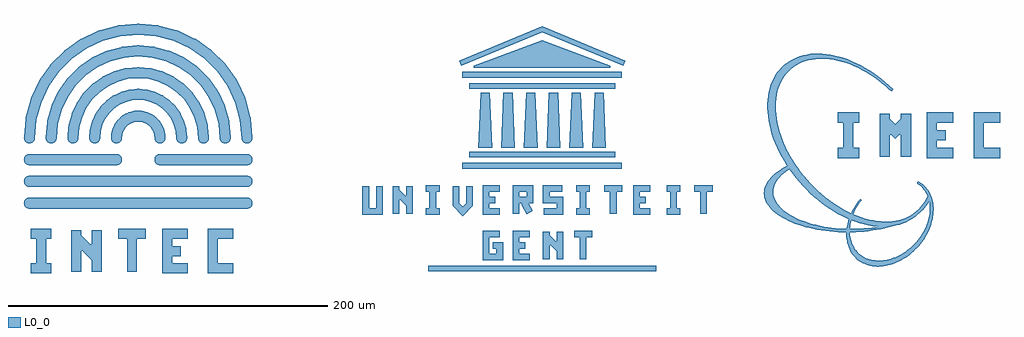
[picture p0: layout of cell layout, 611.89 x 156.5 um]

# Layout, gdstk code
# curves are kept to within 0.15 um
import gdstk
lib = gdstk.Library(unit=1e-6, precision=5e-09)
def R(c, l, rs):  # rectangles x0, y0, x1, y1
    for r in rs: c.add(gdstk.rectangle(r[:2], r[2:], *l))
def P(c, l, *ps):  # polygons
    for p in ps: c.add(gdstk.Polygon(p, *l))
L0_0 = (0, 0)

logo_intec__l0_s136363 = lib.new_cell('logo_intec__L0_S136363')
R(logo_intec__l0_s136363, L0_0, [(0.82,-3.11,13.775,3.11), (26.21,-2.16,32.43,23.75), (39.165,-2.16,45.385,23.75), (61.185,-2.16,67.405,21.59), (4.185,0,10.405,21.59), (86.32,7.685,94.955,13.905), (35.795,8.765,42.275,14.985), (29.32,10.925,35.795,17.145), (0.82,18.48,13.775,24.7), (55.66,18.48,72.93,24.7)])
P(logo_intec__l0_s136363, L0_0, [(31.52,21.63),(44.475,8.675),(40.075,4.275),(27.12,17.23)],
  [(99.275,-3.11),(83.21,-3.11),(83.21,24.7),(99.275,24.7),(99.275,18.48),(89.43,18.48),(89.43,3.11),(99.275,3.11)],
  [(127.775,-3.11),(111.71,-3.11),(111.71,24.7),(127.775,24.7),(127.775,18.48),(117.93,18.48),(117.93,3.11),(127.775,3.11)],
  [(0,37.5),(-1.22,37.725),(-2.41,38.5),(-3.185,39.69),(-3.41,40.91),(-3.185,42.13),(-2.41,43.32),(-1.22,44.095),(0,44.32),(136.365,44.32),(137.585,44.095),(138.775,43.32),(139.55,42.13),(139.775,40.91),(139.55,39.69),(138.775,38.5),(137.585,37.725),(136.365,37.5)],
  [(0,51.135),(-1.22,51.36),(-2.41,52.135),(-3.185,53.325),(-3.41,54.545),(-3.185,55.765),(-2.41,56.955),(-1.22,57.73),(0,57.955),(136.365,57.955),(137.585,57.73),(138.775,56.955),(139.55,55.765),(139.775,54.545),(139.55,53.325),(138.775,52.135),(137.585,51.36),(136.365,51.135)],
  [(0,64.77),(-1.22,64.995),(-2.41,65.77),(-3.185,66.96),(-3.41,68.18),(-3.185,69.4),(-2.535,70.46),(-1.55,71.22),(-0.18,71.585),(54.725,71.585),(55.93,71.295),(56.955,70.59),(57.66,69.565),(57.95,68.36),(57.73,66.96),(57.08,65.9),(56.095,65.14),(54.725,64.775)],
  [(81.82,64.77),(80.6,64.995),(79.41,65.77),(78.635,66.96),(78.41,68.18),(78.635,69.4),(79.285,70.46),(80.27,71.22),(81.64,71.585),(136.545,71.585),(137.75,71.295),(138.775,70.59),(139.48,69.565),(139.77,68.36),(139.55,66.96),(138.9,65.9),(137.915,65.14),(136.545,64.775)],
  [(85.215,82.12),(84.845,80.25),(83.535,78.87),(81.86,78.41),(80.175,78.835),(79.225,79.605),(78.675,80.5),(77.78,85.31),(77.025,86.925),(76.01,88.385),(74.745,89.645),(73.29,90.665),(71.68,91.415),(69.955,91.875),(68.18,92.035),(66.41,91.875),(64.685,91.415),(63.075,90.665),(61.615,89.645),(60.355,88.385),(59.335,86.925),(58.585,85.315),(57.68,80.485),(57.115,79.58),(56.295,78.895),(54.6,78.41),(52.89,78.84),(51.62,80.07),(51.135,81.765),(51.41,84.775),(52.175,87.64),(53.425,90.33),(55.535,93.205),(57.705,95.23),(59.67,96.575),(61.815,97.6),(65.225,98.59),(68.07,98.85),(71.14,98.59),(74.005,97.825),(76.695,96.57),(79.35,94.675),(81.42,92.53),(83.205,89.81),(84.185,87.64),(84.825,85.355)],
  [(98.85,82.12),(98.78,81.07),(98.395,80.095),(97.01,78.785),(95.14,78.425),(93.365,79.125),(92.55,80.035),(92.145,81.005),(91.67,85.96),(90.595,89.975),(88.835,93.745),(86.455,97.15),(83.51,100.09),(80.11,102.47),(76.34,104.23),(72.325,105.305),(68.18,105.67),(64.04,105.305),(60.025,104.23),(56.255,102.47),(52.85,100.09),(49.91,97.15),(47.53,93.745),(45.77,89.975),(44.695,85.96),(44.22,80.995),(43.8,80.015),(42.96,79.095),(41.325,78.435),(39.415,78.755),(38.085,79.915),(37.5,81.76),(37.98,87.145),(39.47,92.585),(41.625,97.155),(45.09,101.97),(48.47,105.31),(52.345,108.06),(57.145,110.41),(62.855,112.02),(68.065,112.485),(73.51,112.02),(78.67,110.635),(83.52,108.375),(88.33,104.915),(91.675,101.535),(94.425,97.655),(96.775,92.855),(98.385,87.145)],
  [(112.485,82.115),(112.365,80.88),(111.915,79.915),(111.19,79.135),(110.255,78.615),(109.03,78.41),(107.98,78.595),(107.04,79.1),(106.295,79.865),(105.715,81.345),(105.1,88.325),(103.41,94.64),(100.645,100.565),(96.9,105.915),(92.28,110.535),(86.925,114.28),(81.005,117.045),(74.69,118.735),(68.18,119.305),(61.675,118.735),(55.36,117.045),(49.435,114.28),(44.085,110.535),(39.465,105.915),(35.72,100.565),(32.955,94.64),(31.265,88.325),(30.65,81.345),(30.07,79.865),(29.325,79.1),(28.385,78.595),(27.335,78.41),(26.28,78.56),(25.32,79.025),(24.555,79.77),(24.05,80.71),(23.865,81.76),(24.55,89.51),(26.55,96.97),(29.815,103.975),(34.645,110.735),(40.175,116.12),(46.025,120.185),(52.48,123.225),(60.49,125.45),(68.06,126.12),(75.875,125.45),(83.335,123.45),(90.335,120.185),(97.1,115.355),(102.485,109.825),(106.55,103.975),(109.59,97.52),(111.815,89.51)],
  [(126.12,82.115),(126.045,81.05),(125.55,79.915),(124.825,79.135),(123.89,78.615),(122.665,78.41),(121.615,78.595),(120.67,79.1),(119.93,79.865),(119.35,81.345),(118.53,90.695),(116.225,99.305),(112.455,107.38),(107.345,114.68),(101.045,120.98),(93.745,126.09),(85.665,129.86),(77.06,132.165),(68.18,132.945),(59.305,132.165),(50.695,129.86),(42.62,126.09),(35.32,120.98),(29.02,114.68),(23.91,107.38),(20.14,99.305),(17.835,90.695),(17.01,81.345),(16.525,80.015),(15.825,79.21),(14.91,78.66),(13.87,78.42),(12.81,78.51),(11.83,78.93),(10.91,79.77),(10.41,80.71),(10.225,81.76),(11.12,91.88),(13.735,101.635),(18.005,110.79),(24.2,119.5),(31.41,126.565),(39.21,131.995),(47.815,136.04),(58.12,138.88),(68.065,139.76),(78.245,138.88),(87.995,136.265),(97.155,131.995),(105.865,125.8),(112.93,118.59),(118.36,110.79),(122.405,102.185),(125.245,91.88)],
  [(139.76,82.115),(139.64,80.88),(139.19,79.915),(138.465,79.135),(137.53,78.615),(136.305,78.41),(135.255,78.595),(134.175,79.21),(133.475,80.015),(132.99,81.345),(131.96,93.065),(129.035,103.97),(124.265,114.2),(117.79,123.445),(109.81,131.43),(100.565,137.9),(90.33,142.675),(79.425,145.595),(68.18,146.58),(56.935,145.595),(46.03,142.675),(35.8,137.9),(26.555,131.43),(18.57,123.445),(12.1,114.2),(7.325,103.97),(4.405,93.065),(3.375,81.345),(2.89,80.015),(2.19,79.21),(1.275,78.66),(0.24,78.42),(-0.825,78.51),(-1.805,78.93),(-2.61,79.63),(-3.225,80.71),(-3.41,81.76),(-2.31,94.25),(0.92,106.3),(6.195,117.61),(13.75,128.265),(22.645,137.015),(32.39,143.805),(43.15,148.855),(55.75,152.31),(68.065,153.395),(80.61,152.31),(92.66,149.08),(103.975,143.805),(114.635,136.25),(123.375,127.36),(130.17,117.61),(135.215,106.85),(138.675,94.25)])

logo_ugent__l0_s136363 = lib.new_cell('logo_ugent__L0_S136363')
R(logo_ugent__l0_s136363, L0_0, [(0,-1.785,142.855,1.785), (71.945,5.715,76.055,22.855), (80.515,5.715,84.625,22.855), (95.09,5.715,99.2,21.43), (55.145,12.23,60.855,16.34), (78.285,12.945,82.57,17.055), (74,14.375,78.285,18.485), (91.43,19.375,102.855,23.485), (-1.43,33.66,7.145,37.77), (92.855,33.66,101.43,37.77), (149.43,33.66,158,37.77), (-22.34,34.285,-18.23,51.43), (-13.77,34.285,-9.66,51.43), (113.945,34.285,118.055,50), (170.515,34.285,174.625,50), (0.8,35.715,4.91,50), (95.09,35.715,99.2,50), (151.66,35.715,155.77,50), (36.285,40.8,42,44.91), (130.57,40.8,136.285,44.91), (-16,41.515,-11.715,45.625), (-20.285,42.945,-16,47.055), (-1.43,47.945,7.145,52.055), (92.855,47.945,101.43,52.055), (110.285,47.945,121.715,52.055), (149.43,47.945,158,52.055), (166.855,47.945,178.285,52.055), (21.43,62.5,121.43,66.07), (25.715,69.645,117.145,73.215), (25.715,112.5,117.145,116.07), (21.43,119.645,121.43,123.215)])
P(logo_ugent__l0_s136363, L0_0, [(-37.09,51.43),(-37.09,37.77),(-32.625,37.77),(-32.625,51.43),(-28.515,51.43),(-28.515,33.66),(-41.2,33.66),(-41.2,51.43)],
  [(-18.83,50.025),(-10.26,41.455),(-13.17,38.545),(-21.74,47.115)],
  [(19.485,51.43),(19.485,40.85),(21.715,38.625),(23.945,40.85),(23.945,51.43),(28.055,51.43),(28.055,39.15),(21.715,32.805),(15.375,39.15),(15.375,51.43)],
  [(44.855,33.66),(34.23,33.66),(34.23,52.055),(44.855,52.055),(44.855,47.945),(38.34,47.945),(38.34,37.77),(44.855,37.77)],
  [(53.09,34.285),(53.09,52.055),(65.77,52.055),(65.77,40.8),(59.43,40.8),(59.43,44.91),(61.66,44.91),(61.66,47.945),(57.2,47.945),(57.2,34.285)],
  [(55.145,44.91),(62.91,44.91),(62.91,40.545),(65.5,36.02),(61.93,33.98),(58.8,39.455),(58.8,40.8),(55.145,40.8)],
  [(72.57,37.77),(80.515,37.77),(80.515,40.8),(71.945,40.8),(71.945,52.055),(84,52.055),(84,47.945),(76.055,47.945),(76.055,44.91),(84.625,44.91),(84.625,33.66),(72.57,33.66)],
  [(139.145,33.66),(128.515,33.66),(128.515,52.055),(139.145,52.055),(139.145,47.945),(132.625,47.945),(132.625,37.77),(139.145,37.77)],
  [(40.57,16.34),(46.91,16.34),(46.91,5.09),(34.23,5.09),(34.23,23.485),(44.855,23.485),(44.855,19.375),(38.34,19.375),(38.34,9.2),(42.8,9.2),(42.8,12.23),(40.57,12.23)],
  [(63.715,5.09),(53.09,5.09),(53.09,23.485),(63.715,23.485),(63.715,19.375),(57.2,19.375),(57.2,9.2),(63.715,9.2)],
  [(75.455,21.455),(84.025,12.885),(81.115,9.975),(72.545,18.545)],
  [(19.315,130.22),(71.43,151.935),(123.54,130.22),(122.17,126.92),(71.43,148.065),(20.685,126.92)],
  [(28.57,125.715),(114.285,125.715),(114.285,127.145),(71.43,142.855),(28.57,127.145)],
  [(40,75.715),(31.43,75.715),(32.855,110),(38.57,110)],
  [(54.285,75.715),(45.715,75.715),(47.145,110),(52.855,110)],
  [(68.57,75.715),(60,75.715),(61.43,110),(67.145,110)],
  [(82.855,75.715),(74.285,75.715),(75.715,110),(81.43,110)],
  [(97.145,75.715),(88.57,75.715),(90,110),(95.715,110)],
  [(111.43,75.715),(102.855,75.715),(104.285,110),(110,110)])

logo_imec__l0_s136363 = lib.new_cell('logo_imec__L0_S136363')
R(logo_imec__l0_s136363, L0_0, [(6.695,69.105,20.09,75.535), (32.945,70.09,39.375,96.875), (46.34,70.09,52.77,96.875), (10.18,72.32,16.61,94.645), (65.625,80.265,74.555,86.695), (36.16,83.615,49.555,90.045), (6.695,91.43,20.09,97.86)])
P(logo_imec__l0_s136363, L0_0, [(63.115,45.59),(61.235,41.875),(58.865,38.575),(56.035,35.735),(52.78,33.38),(49.13,31.54),(45.12,30.235),(40.805,29.48),(36.225,29.275),(31.435,29.635),(26.48,30.545),(21.425,32),(16.31,33.985),(11.205,36.48),(6.16,39.45),(1.23,42.87),(-3.53,46.695),(-8.065,50.895),(-12.335,55.41),(-16.285,60.205),(-19.87,65.215),(-23.06,70.39),(-25.815,75.68),(-28.1,81.015),(-29.9,86.345),(-31.635,94.2),(-32.13,99.26),(-32.095,104.11),(-31.525,108.705),(-30.43,112.985),(-28.815,116.91),(-26.705,120.44),(-24.115,123.525),(-21.085,126.145),(-17.635,128.26),(-13.815,129.85),(-9.655,130.9),(-5.21,131.4),(1.89,131.1),(6.84,130.205),(11.895,128.77),(19.56,125.625),(24.645,122.905),(29.645,119.72),(40.58,111.16),(41.415,112.34),(36.625,116.715),(31.605,120.705),(23.75,125.855),(18.375,128.685),(12.965,130.99),(7.575,132.75),(2.26,133.945),(-5.44,134.655),(-10.315,134.39),(-14.92,133.55),(-19.205,132.13),(-23.12,130.155),(-26.63,127.645),(-29.695,124.62),(-32.28,121.12),(-34.355,117.18),(-35.9,112.84),(-36.905,108.155),(-37.345,103.165),(-37.23,97.935),(-36.55,92.51),(-35.32,86.955),(-33.545,81.33),(-31.255,75.695),(-28.465,70.105),(-25.21,64.63),(-21.525,59.325),(-17.45,54.245),(-13.025,49.45),(-8.305,44.985),(-0.77,39.02),(4.475,35.59),(9.83,32.645),(15.235,30.215),(20.635,28.325),(25.975,26.995),(31.19,26.245),(36.23,26.075),(41.035,26.49),(45.56,27.485),(49.75,29.055),(53.565,31.175),(55.315,32.44),(58.485,35.345),(59.895,36.98),(62.345,40.605),(64.285,44.655)],
  [(-21.375,63.345),(-24.565,61.445),(-27.315,59.4),(-30.565,56.105),(-32.11,53.79),(-33.135,51.41),(-33.635,48.995),(-33.38,45.36),(-32.545,42.965),(-31.19,40.625),(-29.325,38.365),(-26.975,36.21),(-22.59,33.225),(-19.145,31.43),(-15.325,29.815),(-6.725,27.195),(0.38,25.82),(5.33,25.2),(15.5,24.71),(25.665,25.23),(30.605,25.865),(37.69,27.265),(44.225,29.175),(48.195,30.705),(51.81,32.425),(55.025,34.31),(59.03,37.415),(61.11,39.63),(63.285,43.12),(64.085,45.52),(64.81,44.105),(63.85,41.595),(61.395,37.955),(59.095,35.65),(56.305,33.465),(51.255,30.47),(47.36,28.695),(43.1,27.12),(38.51,25.76),(28.565,23.74),(23.31,23.1),(15.235,22.63),(7.105,22.755),(1.745,23.165),(-8.55,24.755),(-15.695,26.58),(-20.085,28.08),(-24.12,29.78),(-27.76,31.67),(-32.39,34.81),(-34.875,37.075),(-37.635,40.665),(-38.8,43.155),(-39.41,45.685),(-39.275,49.505),(-37.88,53.265),(-35.26,56.88),(-31.48,60.26),(-28.36,62.345),(-24.795,64.265),(-22.855,65.155)],
  [(21.7,42.85),(18.405,37.95),(16.02,32.725),(14.645,27.4),(14.34,22.205),(14.595,19.725),(15.485,16.235),(17.57,12.135),(18.975,10.365),(20.605,8.82),(22.435,7.505),(24.45,6.44),(28.945,5.1),(32.625,4.81),(36.47,5.145),(41.695,6.545),(46.82,8.98),(51.625,12.34),(55.9,16.485),(58.65,20),(60.935,23.765),(63.15,29.025),(64.345,34.345),(64.53,38.235),(64.11,41.935),(62.61,46.415),(61.48,48.405),(60.11,50.205),(58.52,51.785),(56.72,53.135),(56.65,54.105),(57.125,54.695),(60.15,52.615),(62.675,49.97),(64.645,46.82),(65.62,44.475),(66.315,41.965),(66.72,39.32),(66.83,36.565),(66.45,32.29),(65.42,27.94),(63.76,23.615),(60.645,18.08),(56.62,13.015),(51.865,8.645),(46.575,5.15),(40.985,2.69),(35.33,1.36),(32.555,1.14),(29.855,1.225),(27.26,1.605),(23.62,2.735),(20.365,4.5),(18.45,6.01),(16.76,7.77),(15.315,9.76),(14.13,11.96),(13.215,14.345),(12.585,16.885),(12.245,19.56),(12.2,22.335),(12.68,26.63),(14.33,32.43),(16.28,36.7),(18.79,40.79),(20.75,43.36),(21.215,43.325)],
  [(38.435,94.685),(42.855,90.26),(47.285,94.685),(51.825,90.135),(42.855,81.17),(33.885,90.135)],
  [(79.02,69.105),(62.41,69.105),(62.41,97.86),(79.02,97.86),(79.02,91.43),(68.84,91.43),(68.84,75.535),(79.02,75.535)],
  [(108.48,69.105),(91.875,69.105),(91.875,97.86),(108.48,97.86),(108.48,91.43),(98.305,91.43),(98.305,75.535),(108.48,75.535)])

layout = lib.new_cell('layout')
layout.add(gdstk.Reference(logo_intec__l0_s136363, (0,200)))
layout.add(gdstk.Reference(logo_ugent__l0_s136363, (250,200)))
layout.add(gdstk.Reference(logo_imec__l0_s136363, (500,200)))

lib.write_gds('layout.gds')
